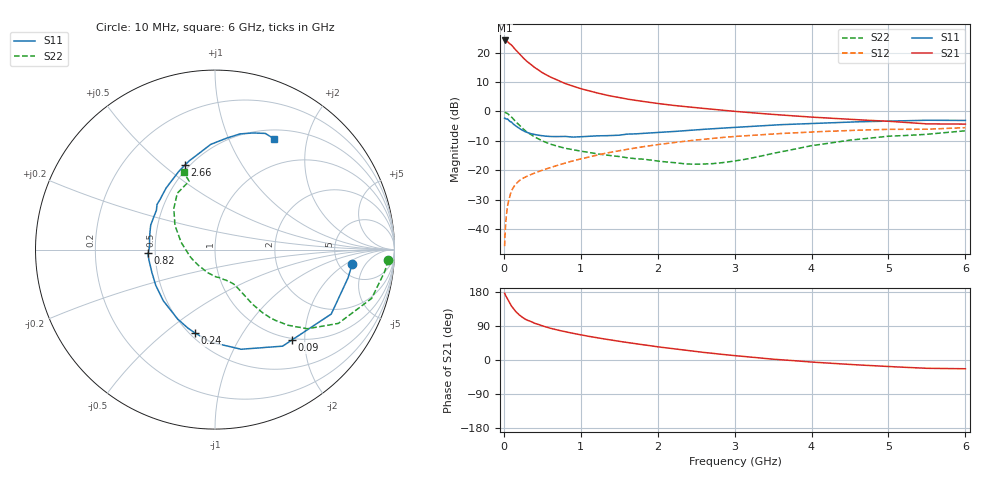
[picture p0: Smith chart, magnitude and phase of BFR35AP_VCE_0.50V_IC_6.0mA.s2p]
! Infineon Technologies  Discrete & RF Semiconductors
! BFR35AP
! VCE = 0.50 V,  IC =  6.0 mA
! Common Emitter S-Parameters:  Nov 2015
# GHz  S  MA  R  50
!  f  S11  S21  S12  S22
! GHz  MAG  ANG  MAG  ANG  MAG  ANG  MAG  ANG
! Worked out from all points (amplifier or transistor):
!   210 points, 10 MHz to 6 GHz, reference 50 ohm
!   highest |S21| = 24.1 dB at 10 MHz (marker M1)
!   |S21| within 3 dB of that: start of sweep to 146.9 MHz
!   unconditionally stable (mu >= 1): 552.9 MHz to end of sweep
!   at 185 MHz: K = 0.48, MSG = 22.0 dB, |S12| = -24.0 dB
!   at 1.52 GHz: K = 1.24, MAG = 6.0 dB, |S12| = -13.3 dB
!   at 6 GHz: K = 1.08, MAG = -1.2 dB, |S12| = -5.5 dB
!   S11 on the Smith chart (normalised r, x): 10 MHz: 6.57, -2.62; 90 MHz: 0.97, -1.74; 240 MHz: 0.53, -0.64; 820 MHz: 0.46, -0.02; 2.66 GHz: 0.47, +0.60; 6 GHz: 0.61, +1.48
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0.01  0.7685 -6.1  16.04 175.9  0.0051 87.1  0.9662 -3.5
0.02  0.7578 -12.0  15.93 171.3  0.0105 80.4  0.9544 -7.2
0.05  0.7405 -29.0  15.23 159.4  0.0254 75.3  0.9142 -17.3
0.09  0.6617 -49.4  13.65 145.9  0.0409 65.3  0.8195 -27.9
0.1  0.6567 -55.0  13.39 142.1  0.0449 63.9  0.8008 -30.9
0.15  0.574 -75.3  11.24 128.5  0.0571 56.4  0.6774 -40.6
0.2  0.5168 -92.3  9.558 118.9  0.0662 52.3  0.5831 -46.2
0.24  0.4775 -103.6  8.411 112.9  0.0716 50.6  0.5189 -49.5
0.26  0.4631 -108.9  7.92 110.1  0.0741 50.0  0.4912 -50.9
0.3  0.4393 -118.3  7.066 105.4  0.0786 49.1  0.4437 -52.9
0.4  0.4053 -135.3  5.57 97.0  0.0893 49.1  0.3665 -55.6
0.5  0.3855 -148.9  4.542 89.9  0.0999 49.6  0.3143 -56.9
0.6  0.374 -160.0  3.861 84.0  0.1102 50.6  0.278 -58.2
0.82  0.3721 -177.4  2.903 73.6  0.1346 51.5  0.2325 -60.4
1.02  0.3713 169.0  2.389 65.7  0.1576 51.6  0.2087 -63.1
1.4  0.3884 150.0  1.808 52.5  0.2025 49.8  0.1765 -72.4
2.02  0.4393 127.8  1.35 34.3  0.2741 43.8  0.1417 -96.7
2.66  0.5007 109.4  1.099 18.7  0.3414 35.7  0.1277 -139.0
3.1  0.5425 99.6  0.975 9.7  0.3813 29.4  0.15 -170.8
4.1  0.63 82.9  0.784 -6.6  0.4515 15.8  0.272 145.6
5.1  0.6871 70.9  0.664 -18.2  0.494 3.0  0.3821 121.1
6  0.6996 62.0  0.607 -23.1  0.5282 -5.8  0.4662 111.9
